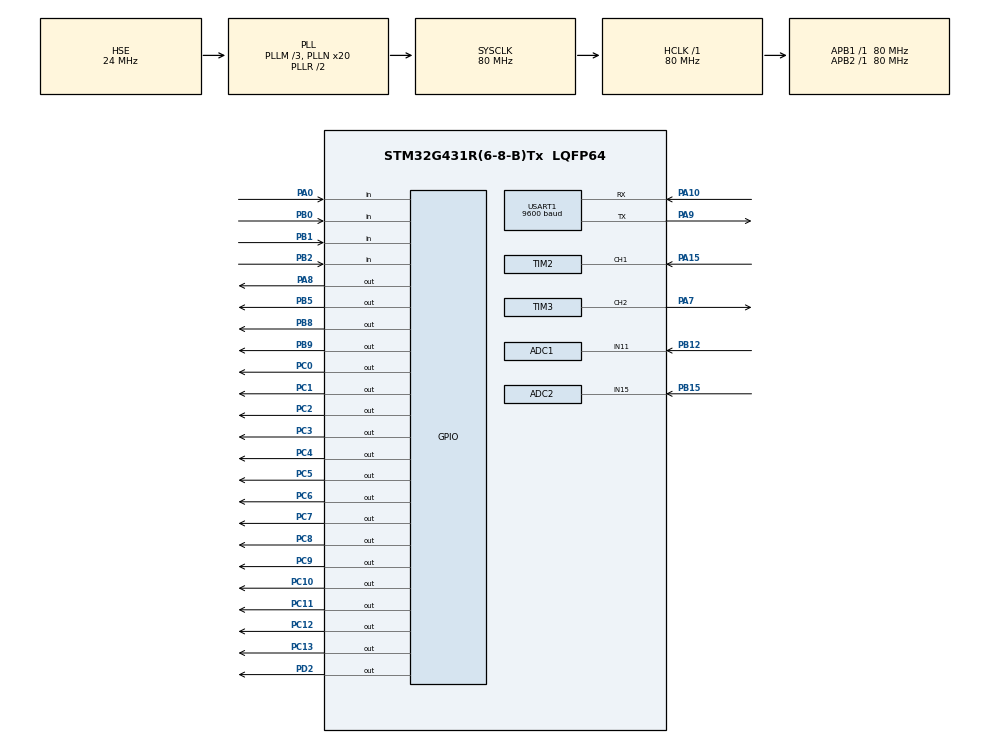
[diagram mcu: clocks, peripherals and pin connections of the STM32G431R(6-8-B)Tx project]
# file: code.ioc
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ADC1.Channel-3\#ChannelRegularConversion=ADC_CHANNEL_11
ADC1.NbrOfConversionFlag=1
ADC1.OffsetNumber-3\#ChannelRegularConversion=ADC_OFFSET_NONE
ADC1.Rank-3\#ChannelRegularConversion=1
ADC1.SamplingTime-3\#ChannelRegularConversion=ADC_SAMPLETIME_2CYCLES_5
ADC1.master=1
ADC2.Channel-0\#ChannelRegularConversion=ADC_CHANNEL_15
ADC2.NbrOfConversionFlag=1
ADC2.OffsetNumber-0\#ChannelRegularConversion=ADC_OFFSET_NONE
ADC2.Rank-0\#ChannelRegularConversion=1
ADC2.SamplingTime-0\#ChannelRegularConversion=ADC_SAMPLETIME_2CYCLES_5
Dma.ADC1.0.Direction=DMA_PERIPH_TO_MEMORY
Dma.ADC1.0.EventEnable=DISABLE
Dma.ADC1.0.Instance=DMA1_Channel1
Dma.ADC1.0.MemDataAlignment=DMA_MDATAALIGN_HALFWORD
Dma.ADC1.0.MemInc=DMA_MINC_ENABLE
Dma.ADC1.0.Mode=DMA_NORMAL
Dma.ADC1.0.PeriphDataAlignment=DMA_PDATAALIGN_HALFWORD
Dma.ADC1.0.PeriphInc=DMA_PINC_DISABLE
Dma.ADC1.0.Polarity=HAL_DMAMUX_REQ_GEN_RISING
Dma.ADC1.0.Priority=DMA_PRIORITY_LOW
Dma.ADC1.0.RequestNumber=1
Dma.ADC1.0.SignalID=NONE
Dma.ADC1.0.SyncEnable=DISABLE
Dma.ADC1.0.SyncPolarity=HAL_DMAMUX_SYNC_NO_EVENT
Dma.ADC1.0.SyncRequestNumber=1
Dma.ADC1.0.SyncSignalID=NONE
Dma.Request0=ADC1
Mcu.Family=STM32G4
Mcu.Name=STM32G431R(6-8-B)Tx
Mcu.Package=LQFP64
NVIC.DMA1_Channel1_IRQn=true\:0\:0\:false\:false\:true\:false\:true\:true
NVIC.PriorityGroup=NVIC_PRIORITYGROUP_4
NVIC.TIM2_IRQn=true\:0\:0\:false\:false\:true\:true\:true\:true
NVIC.USART1_IRQn=true\:0\:0\:false\:false\:true\:true\:true\:true
PA0.GPIO_PuPd=GPIO_PULLUP
PA0.Signal=GPIO_Input
PA10.Mode=Asynchronous
PA10.Signal=USART1_RX
PA13.Mode=Serial_Wire
PA13.Signal=SYS_JTMS-SWDIO
PA14.Mode=Serial_Wire
PA14.Signal=SYS_JTCK-SWCLK
PA15.Signal=S_TIM2_CH1
PA7.Signal=S_TIM3_CH2
PA8.Signal=GPIO_Output
PA9.Mode=Asynchronous
PA9.Signal=USART1_TX
PB0.GPIO_PuPd=GPIO_PULLUP
PB0.Signal=GPIO_Input
PB1.GPIO_PuPd=GPIO_PULLUP
PB1.Signal=GPIO_Input
PB12.Mode=IN11-Single-Ended
PB12.Signal=ADC1_IN11
PB15.Mode=IN15-Single-Ended
PB15.Signal=ADC2_IN15
PB2.GPIO_PuPd=GPIO_PULLUP
PB2.Signal=GPIO_Input
PB5.Signal=GPIO_Output
PB8-BOOT0.Signal=GPIO_Output
PB9.Signal=GPIO_Output
PC0.Signal=GPIO_Output
PC1.Signal=GPIO_Output
PC10.PinState=GPIO_PIN_SET
PC10.Signal=GPIO_Output
PC11.PinState=GPIO_PIN_SET
PC11.Signal=GPIO_Output
PC12.PinState=GPIO_PIN_SET
PC12.Signal=GPIO_Output
PC13.PinState=GPIO_PIN_SET
PC13.Signal=GPIO_Output
PC14-OSC32_IN.Mode=LSE-External-Oscillator
PC14-OSC32_IN.Signal=RCC_OSC32_IN
PC15-OSC32_OUT.Mode=LSE-External-Oscillator
PC15-OSC32_OUT.Signal=RCC_OSC32_OUT
PC2.Signal=GPIO_Output
PC3.Signal=GPIO_Output
PC4.Signal=GPIO_Output
PC5.Signal=GPIO_Output
PC6.Signal=GPIO_Output
PC7.PinState=GPIO_PIN_SET
PC7.Signal=GPIO_Output
PC8.PinState=GPIO_PIN_SET
PC8.Signal=GPIO_Output
PC9.PinState=GPIO_PIN_SET
PC9.Signal=GPIO_Output
PD2.Signal=GPIO_Output
PF0-OSC_IN.Mode=HSE-External-Oscillator
PF0-OSC_IN.Signal=RCC_OSC_IN
PF1-OSC_OUT.Mode=HSE-External-Oscillator
PF1-OSC_OUT.Signal=RCC_OSC_OUT
ProjectManager.HeapSize=0x200
ProjectManager.StackSize=0x400
ProjectManager.TargetToolchain=MDK-ARM V5.32
RCC.ADC12CLockSelection=RCC_ADC12CLKSOURCE_PLL
RCC.ADC12Freq_Value=80000000
RCC.AHBFreq_Value=80000000
RCC.APB1Freq_Value=80000000
RCC.APB1TimFreq_Value=80000000
RCC.APB2Freq_Value=80000000
RCC.APB2TimFreq_Value=80000000
RCC.CortexFreq_Value=80000000
RCC.EXTERNAL_CLOCK_VALUE=12288000
RCC.HCLKFreq_Value=80000000
RCC.HSE_VALUE=24000000
RCC.HSI48_VALUE=48000000
RCC.HSI_VALUE=16000000
RCC.PLLM=RCC_PLLM_DIV3
RCC.PLLN=20
RCC.PLLSourceVirtual=RCC_PLLSOURCE_HSE
RCC.SYSCLKFreq_VALUE=80000000
RCC.SYSCLKSource=RCC_SYSCLKSOURCE_PLLCLK
RCC.USBFreq_Value=80000000
RCC.VCOOutputFreq_Value=160000000
SH.S_TIM2_CH1.0=TIM2_CH1,Input_Capture1_from_TI1
SH.S_TIM3_CH2.0=TIM3_CH2,PWM Generation2 CH2
TIM1.PeriodNoDither=999
TIM1.Prescaler=79
TIM2.Channel-Input_Capture1_from_TI1=TIM_CHANNEL_1
TIM2.ICPolarity_CH1=TIM_INPUTCHANNELPOLARITY_BOTHEDGE
TIM2.Prescaler=79
TIM3.Channel-PWM\ Generation2\ CH2=TIM_CHANNEL_2
TIM3.PeriodNoDither=999
TIM3.Prescaler=79
USART1.BaudRate=9600
USART1.Parity=PARITY_NONE
USART1.VirtualMode-Asynchronous=VM_ASYNC
VP_RTC_VS_RTC_Activate.Mode=RTC_Enabled
VP_SYS_VS_DBSignals.Mode=DisableDeadBatterySignals
VP_TIM1_VS_ClockSourceINT.Mode=Internal
VP_TIM2_VS_ClockSourceINT.Mode=Internal
VP_TIM3_VS_ClockSourceINT.Mode=Internal
board=custom

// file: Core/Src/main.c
/* USER CODE BEGIN Header */
/**
 ******************************************************************************
 * @file           : main.c
 * @brief          : Main program body
 ******************************************************************************
 * @attention
 *
 * Copyright (c) 2026 STMicroelectronics.
 * All rights reserved.
 *
 * This software is licensed under terms that can be found in the LICENSE file
 * in the root directory of this software component.
 * If no LICENSE file comes with this software, it is provided AS-IS.
 *
 ******************************************************************************
 */
/* USER CODE END Header */
#include "main.h"

/* USER CODE BEGIN Includes */
#include "stdio.h"
#include "string.h"
#include "lcd.h"
#include "led.h"
#include "key.h"
#include "ui.h"
#include "service.h"
/* USER CODE END Includes */

ADC_HandleTypeDef hadc1;
ADC_HandleTypeDef hadc2;
DMA_HandleTypeDef hdma_adc1;

RTC_HandleTypeDef hrtc;

TIM_HandleTypeDef htim1;
TIM_HandleTypeDef htim2;
TIM_HandleTypeDef htim3;

UART_HandleTypeDef huart1;

void SystemClock_Config(void);
static void MX_GPIO_Init(void);
static void MX_DMA_Init(void);
static void MX_ADC1_Init(void);
static void MX_RTC_Init(void);
static void MX_TIM1_Init(void);
static void MX_TIM2_Init(void);
static void MX_ADC2_Init(void);
static void MX_USART1_UART_Init(void);
static void MX_TIM3_Init(void);

int main(void)
{

  /* MCU Configuration--------------------------------------------------------*/

  /* Reset of all peripherals, Initializes the Flash interface and the Systick. */
  HAL_Init();

  /* Configure the system clock */
  SystemClock_Config();

  /* Initialize all configured peripherals */
  MX_GPIO_Init();
  MX_DMA_Init();
  MX_ADC1_Init();
  MX_RTC_Init();
  MX_TIM1_Init();
  MX_TIM2_Init();
  MX_ADC2_Init();
  MX_USART1_UART_Init();
  MX_TIM3_Init();
  /* USER CODE BEGIN 2 */
  HAL_TIM_IC_Start_IT(&htim2, TIM_CHANNEL_1);
  HAL_ADCEx_Calibration_Start(&hadc1, ADC_SINGLE_ENDED);
  HAL_ADCEx_Calibration_Start(&hadc2, ADC_SINGLE_ENDED);
  /* 启动 PWM 输出 */
  HAL_TIM_PWM_Start(&htim3, TIM_CHANNEL_2);
  /* LCD初始化 */
  LCD_Init();
  LCD_Clear(Black);
  LCD_SetBackColor(Black);
  LCD_SetTextColor(White);
  ui_init();
  /* USER CODE END 2 */

  /* Infinite loop */
  while (1)
  {

    /* USER CODE BEGIN 3 */
    //定时模块
    service_tick_run();
  }
  /* USER CODE END 3 */
}

void SystemClock_Config(void)
{
  RCC_OscInitTypeDef RCC_OscInitStruct = {0};
  RCC_ClkInitTypeDef RCC_ClkInitStruct = {0};

  /** Configure the main internal regulator output voltage
  */
  HAL_PWREx_ControlVoltageScaling(PWR_REGULATOR_VOLTAGE_SCALE1);

  /** Initializes the RCC Oscillators according to the specified parameters
  * in the RCC_OscInitTypeDef structure.
  */
  RCC_OscInitStruct.OscillatorType = RCC_OSCILLATORTYPE_LSI|RCC_OSCILLATORTYPE_HSE;
  RCC_OscInitStruct.HSEState = RCC_HSE_ON;
  RCC_OscInitStruct.LSIState = RCC_LSI_ON;
  RCC_OscInitStruct.PLL.PLLState = RCC_PLL_ON;
  RCC_OscInitStruct.PLL.PLLSource = RCC_PLLSOURCE_HSE;
  RCC_OscInitStruct.PLL.PLLM = RCC_PLLM_DIV3;
  RCC_OscInitStruct.PLL.PLLN = 20;
  RCC_OscInitStruct.PLL.PLLP = RCC_PLLP_DIV2;
  RCC_OscInitStruct.PLL.PLLQ = RCC_PLLQ_DIV2;
  RCC_OscInitStruct.PLL.PLLR = RCC_PLLR_DIV2;
  if (HAL_RCC_OscConfig(&RCC_OscInitStruct) != HAL_OK)
  {
    Error_Handler();
  }

  /** Initializes the CPU, AHB and APB buses clocks
  */
  RCC_ClkInitStruct.ClockType = RCC_CLOCKTYPE_HCLK|RCC_CLOCKTYPE_SYSCLK
                              |RCC_CLOCKTYPE_PCLK1|RCC_CLOCKTYPE_PCLK2;
  RCC_ClkInitStruct.SYSCLKSource = RCC_SYSCLKSOURCE_PLLCLK;
  RCC_ClkInitStruct.AHBCLKDivider = RCC_SYSCLK_DIV1;
  RCC_ClkInitStruct.APB1CLKDivider = RCC_HCLK_DIV1;
  RCC_ClkInitStruct.APB2CLKDivider = RCC_HCLK_DIV1;

  if (HAL_RCC_ClockConfig(&RCC_ClkInitStruct, FLASH_LATENCY_2) != HAL_OK)
  {
    Error_Handler();
  }
}

static void MX_ADC1_Init(void)
{

  ADC_MultiModeTypeDef multimode = {0};
  ADC_ChannelConfTypeDef sConfig = {0};

  /** Common config
  */
  hadc1.Instance = ADC1;
  hadc1.Init.ClockPrescaler = ADC_CLOCK_SYNC_PCLK_DIV2;
  hadc1.Init.Resolution = ADC_RESOLUTION_12B;
  hadc1.Init.DataAlign = ADC_DATAALIGN_RIGHT;
  hadc1.Init.GainCompensation = 0;
  hadc1.Init.ScanConvMode = ADC_SCAN_DISABLE;
  hadc1.Init.EOCSelection = ADC_EOC_SINGLE_CONV;
  hadc1.Init.LowPowerAutoWait = DISABLE;
  hadc1.Init.ContinuousConvMode = DISABLE;
  hadc1.Init.NbrOfConversion = 1;
  hadc1.Init.DiscontinuousConvMode = DISABLE;
  hadc1.Init.ExternalTrigConv = ADC_SOFTWARE_START;
  hadc1.Init.ExternalTrigConvEdge = ADC_EXTERNALTRIGCONVEDGE_NONE;
  hadc1.Init.DMAContinuousRequests = DISABLE;
  hadc1.Init.Overrun = ADC_OVR_DATA_PRESERVED;
  hadc1.Init.OversamplingMode = DISABLE;
  if (HAL_ADC_Init(&hadc1) != HAL_OK)
  {
    Error_Handler();
  }

  /** Configure the ADC multi-mode
  */
  multimode.Mode = ADC_MODE_INDEPENDENT;
  if (HAL_ADCEx_MultiModeConfigChannel(&hadc1, &multimode) != HAL_OK)
  {
    Error_Handler();
  }

  /** Configure Regular Channel
  */
  sConfig.Channel = ADC_CHANNEL_11;
  sConfig.Rank = ADC_REGULAR_RANK_1;
  sConfig.SamplingTime = ADC_SAMPLETIME_2CYCLES_5;
  sConfig.SingleDiff = ADC_SINGLE_ENDED;
  sConfig.OffsetNumber = ADC_OFFSET_NONE;
  sConfig.Offset = 0;
  if (HAL_ADC_ConfigChannel(&hadc1, &sConfig) != HAL_OK)
  {
    Error_Handler();
  }

}

static void MX_ADC2_Init(void)
{

  ADC_ChannelConfTypeDef sConfig = {0};

  /** Common config
  */
  hadc2.Instance = ADC2;
  hadc2.Init.ClockPrescaler = ADC_CLOCK_SYNC_PCLK_DIV2;
  hadc2.Init.Resolution = ADC_RESOLUTION_12B;
  hadc2.Init.DataAlign = ADC_DATAALIGN_RIGHT;
  hadc2.Init.GainCompensation = 0;
  hadc2.Init.ScanConvMode = ADC_SCAN_DISABLE;
  hadc2.Init.EOCSelection = ADC_EOC_SINGLE_CONV;
  hadc2.Init.LowPowerAutoWait = DISABLE;
  hadc2.Init.ContinuousConvMode = DISABLE;
  hadc2.Init.NbrOfConversion = 1;
  hadc2.Init.DiscontinuousConvMode = DISABLE;
  hadc2.Init.ExternalTrigConv = ADC_SOFTWARE_START;
  hadc2.Init.ExternalTrigConvEdge = ADC_EXTERNALTRIGCONVEDGE_NONE;
  hadc2.Init.DMAContinuousRequests = DISABLE;
  hadc2.Init.Overrun = ADC_OVR_DATA_PRESERVED;
  hadc2.Init.OversamplingMode = DISABLE;
  if (HAL_ADC_Init(&hadc2) != HAL_OK)
  {
    Error_Handler();
  }

  /** Configure Regular Channel
  */
  sConfig.Channel = ADC_CHANNEL_15;
  sConfig.Rank = ADC_REGULAR_RANK_1;
  sConfig.SamplingTime = ADC_SAMPLETIME_2CYCLES_5;
  sConfig.SingleDiff = ADC_SINGLE_ENDED;
  sConfig.OffsetNumber = ADC_OFFSET_NONE;
  sConfig.Offset = 0;
  if (HAL_ADC_ConfigChannel(&hadc2, &sConfig) != HAL_OK)
  {
    Error_Handler();
  }

}

static void MX_RTC_Init(void)
{

  /** Initialize RTC Only
  */
  hrtc.Instance = RTC;
  hrtc.Init.HourFormat = RTC_HOURFORMAT_24;
  hrtc.Init.AsynchPrediv = 127;
  hrtc.Init.SynchPrediv = 255;
  hrtc.Init.OutPut = RTC_OUTPUT_DISABLE;
  hrtc.Init.OutPutRemap = RTC_OUTPUT_REMAP_NONE;
  hrtc.Init.OutPutPolarity = RTC_OUTPUT_POLARITY_HIGH;
  hrtc.Init.OutPutType = RTC_OUTPUT_TYPE_OPENDRAIN;
  hrtc.Init.OutPutPullUp = RTC_OUTPUT_PULLUP_NONE;
  if (HAL_RTC_Init(&hrtc) != HAL_OK)
  {
    Error_Handler();
  }

}

static void MX_TIM1_Init(void)
{

  TIM_ClockConfigTypeDef sClockSourceConfig = {0};
  TIM_MasterConfigTypeDef sMasterConfig = {0};

  htim1.Instance = TIM1;
  htim1.Init.Prescaler = 79;
  htim1.Init.CounterMode = TIM_COUNTERMODE_UP;
  htim1.Init.Period = 999;
  htim1.Init.ClockDivision = TIM_CLOCKDIVISION_DIV1;
  htim1.Init.RepetitionCounter = 0;
  htim1.Init.AutoReloadPreload = TIM_AUTORELOAD_PRELOAD_DISABLE;
  if (HAL_TIM_Base_Init(&htim1) != HAL_OK)
  {
    Error_Handler();
  }
  sClockSourceConfig.ClockSource = TIM_CLOCKSOURCE_INTERNAL;
  if (HAL_TIM_ConfigClockSource(&htim1, &sClockSourceConfig) != HAL_OK)
  {
    Error_Handler();
  }
  sMasterConfig.MasterOutputTrigger = TIM_TRGO_RESET;
  sMasterConfig.MasterOutputTrigger2 = TIM_TRGO2_RESET;
  sMasterConfig.MasterSlaveMode = TIM_MASTERSLAVEMODE_DISABLE;
  if (HAL_TIMEx_MasterConfigSynchronization(&htim1, &sMasterConfig) != HAL_OK)
  {
    Error_Handler();
  }

}

static void MX_TIM2_Init(void)
{

  TIM_ClockConfigTypeDef sClockSourceConfig = {0};
  TIM_MasterConfigTypeDef sMasterConfig = {0};
  TIM_IC_InitTypeDef sConfigIC = {0};

  htim2.Instance = TIM2;
  htim2.Init.Prescaler = 79;
  htim2.Init.CounterMode = TIM_COUNTERMODE_UP;
  htim2.Init.Period = 4294967295;
  htim2.Init.ClockDivision = TIM_CLOCKDIVISION_DIV1;
  htim2.Init.AutoReloadPreload = TIM_AUTORELOAD_PRELOAD_DISABLE;
  if (HAL_TIM_Base_Init(&htim2) != HAL_OK)
  {
    Error_Handler();
  }
  sClockSourceConfig.ClockSource = TIM_CLOCKSOURCE_INTERNAL;
  if (HAL_TIM_ConfigClockSource(&htim2, &sClockSourceConfig) != HAL_OK)
  {
    Error_Handler();
  }
  if (HAL_TIM_IC_Init(&htim2) != HAL_OK)
  {
    Error_Handler();
  }
  sMasterConfig.MasterOutputTrigger = TIM_TRGO_RESET;
  sMasterConfig.MasterSlaveMode = TIM_MASTERSLAVEMODE_DISABLE;
  if (HAL_TIMEx_MasterConfigSynchronization(&htim2, &sMasterConfig) != HAL_OK)
  {
    Error_Handler();
  }
  sConfigIC.ICPolarity = TIM_INPUTCHANNELPOLARITY_BOTHEDGE;
  sConfigIC.ICSelection = TIM_ICSELECTION_DIRECTTI;
  sConfigIC.ICPrescaler = TIM_ICPSC_DIV1;
  sConfigIC.ICFilter = 0;
  if (HAL_TIM_IC_ConfigChannel(&htim2, &sConfigIC, TIM_CHANNEL_1) != HAL_OK)
  {
    Error_Handler();
  }

}

static void MX_TIM3_Init(void)
{

  TIM_ClockConfigTypeDef sClockSourceConfig = {0};
  TIM_MasterConfigTypeDef sMasterConfig = {0};
  TIM_OC_InitTypeDef sConfigOC = {0};

  htim3.Instance = TIM3;
  htim3.Init.Prescaler = 79;
  htim3.Init.CounterMode = TIM_COUNTERMODE_UP;
  htim3.Init.Period = 999;
  htim3.Init.ClockDivision = TIM_CLOCKDIVISION_DIV1;
  htim3.Init.AutoReloadPreload = TIM_AUTORELOAD_PRELOAD_DISABLE;
  if (HAL_TIM_Base_Init(&htim3) != HAL_OK)
  {
    Error_Handler();
  }
  sClockSourceConfig.ClockSource = TIM_CLOCKSOURCE_INTERNAL;
  if (HAL_TIM_ConfigClockSource(&htim3, &sClockSourceConfig) != HAL_OK)
  {
    Error_Handler();
  }
  if (HAL_TIM_PWM_Init(&htim3) != HAL_OK)
  {
    Error_Handler();
  }
  sMasterConfig.MasterOutputTrigger = TIM_TRGO_RESET;
  sMasterConfig.MasterSlaveMode = TIM_MASTERSLAVEMODE_DISABLE;
  if (HAL_TIMEx_MasterConfigSynchronization(&htim3, &sMasterConfig) != HAL_OK)
  {
    Error_Handler();
  }
  sConfigOC.OCMode = TIM_OCMODE_PWM1;
  sConfigOC.Pulse = 0;
  sConfigOC.OCPolarity = TIM_OCPOLARITY_HIGH;
  sConfigOC.OCFastMode = TIM_OCFAST_DISABLE;
  if (HAL_TIM_PWM_ConfigChannel(&htim3, &sConfigOC, TIM_CHANNEL_2) != HAL_OK)
  {
    Error_Handler();
  }
  HAL_TIM_MspPostInit(&htim3);

}

static void MX_USART1_UART_Init(void)
{

  huart1.Instance = USART1;
  huart1.Init.BaudRate = 9600;
  huart1.Init.WordLength = UART_WORDLENGTH_8B;
  huart1.Init.StopBits = UART_STOPBITS_1;
  huart1.Init.Parity = UART_PARITY_NONE;
  huart1.Init.Mode = UART_MODE_TX_RX;
  huart1.Init.HwFlowCtl = UART_HWCONTROL_NONE;
  huart1.Init.OverSampling = UART_OVERSAMPLING_16;
  huart1.Init.OneBitSampling = UART_ONE_BIT_SAMPLE_DISABLE;
  huart1.Init.ClockPrescaler = UART_PRESCALER_DIV1;
  huart1.AdvancedInit.AdvFeatureInit = UART_ADVFEATURE_NO_INIT;
  if (HAL_UART_Init(&huart1) != HAL_OK)
  {
    Error_Handler();
  }
  if (HAL_UARTEx_SetTxFifoThreshold(&huart1, UART_TXFIFO_THRESHOLD_1_8) != HAL_OK)
  {
    Error_Handler();
  }
  if (HAL_UARTEx_SetRxFifoThreshold(&huart1, UART_RXFIFO_THRESHOLD_1_8) != HAL_OK)
  {
    Error_Handler();
  }
  if (HAL_UARTEx_DisableFifoMode(&huart1) != HAL_OK)
  {
    Error_Handler();
  }

}

static void MX_DMA_Init(void)
{

  /* DMA controller clock enable */
  __HAL_RCC_DMAMUX1_CLK_ENABLE();
  __HAL_RCC_DMA1_CLK_ENABLE();

  /* DMA interrupt init */
  /* DMA1_Channel1_IRQn interrupt configuration */
  HAL_NVIC_SetPriority(DMA1_Channel1_IRQn, 0, 0);
  HAL_NVIC_EnableIRQ(DMA1_Channel1_IRQn);

}

static void MX_GPIO_Init(void)
{
  GPIO_InitTypeDef GPIO_InitStruct = {0};

  /* GPIO Ports Clock Enable */
  __HAL_RCC_GPIOC_CLK_ENABLE();
  __HAL_RCC_GPIOF_CLK_ENABLE();
  __HAL_RCC_GPIOA_CLK_ENABLE();
  __HAL_RCC_GPIOB_CLK_ENABLE();
  __HAL_RCC_GPIOD_CLK_ENABLE();

  /*Configure GPIO pin Output Level */
  HAL_GPIO_WritePin(GPIOC, GPIO_PIN_13|GPIO_PIN_7|GPIO_PIN_8|GPIO_PIN_9
                          |GPIO_PIN_10|GPIO_PIN_11|GPIO_PIN_12, GPIO_PIN_SET);

  /*Configure GPIO pin Output Level */
  HAL_GPIO_WritePin(GPIOC, GPIO_PIN_0|GPIO_PIN_1|GPIO_PIN_2|GPIO_PIN_3
                          |GPIO_PIN_4|GPIO_PIN_5|GPIO_PIN_6, GPIO_PIN_RESET);

  /*Configure GPIO pin Output Level */
  HAL_GPIO_WritePin(GPIOA, GPIO_PIN_8, GPIO_PIN_RESET);

  /*Configure GPIO pin Output Level */
  HAL_GPIO_WritePin(GPIOD, GPIO_PIN_2, GPIO_PIN_RESET);

  /*Configure GPIO pin Output Level */
  HAL_GPIO_WritePin(GPIOB, GPIO_PIN_5|GPIO_PIN_8|GPIO_PIN_9, GPIO_PIN_RESET);

  /*Configure GPIO pins : PC13 PC0 PC1 PC2
                           PC3 PC4 PC5 PC6
                           PC7 PC8 PC9 PC10
                           PC11 PC12 */
  GPIO_InitStruct.Pin = GPIO_PIN_13|GPIO_PIN_0|GPIO_PIN_1|GPIO_PIN_2
                          |GPIO_PIN_3|GPIO_PIN_4|GPIO_PIN_5|GPIO_PIN_6
                          |GPIO_PIN_7|GPIO_PIN_8|GPIO_PIN_9|GPIO_PIN_10
                          |GPIO_PIN_11|GPIO_PIN_12;
  GPIO_InitStruct.Mode = GPIO_MODE_OUTPUT_PP;
  GPIO_InitStruct.Pull = GPIO_NOPULL;
  GPIO_InitStruct.Speed = GPIO_SPEED_FREQ_LOW;
  HAL_GPIO_Init(GPIOC, &GPIO_InitStruct);

  /*Configure GPIO pin : PA0 */
  GPIO_InitStruct.Pin = GPIO_PIN_0;
  GPIO_InitStruct.Mode = GPIO_MODE_INPUT;
  GPIO_InitStruct.Pull = GPIO_PULLUP;
  HAL_GPIO_Init(GPIOA, &GPIO_InitStruct);

  /*Configure GPIO pins : PB0 PB1 PB2 */
  GPIO_InitStruct.Pin = GPIO_PIN_0|GPIO_PIN_1|GPIO_PIN_2;
  GPIO_InitStruct.Mode = GPIO_MODE_INPUT;
  GPIO_InitStruct.Pull = GPIO_PULLUP;
  HAL_GPIO_Init(GPIOB, &GPIO_InitStruct);

  /*Configure GPIO pin : PA8 */
  GPIO_InitStruct.Pin = GPIO_PIN_8;
  GPIO_InitStruct.Mode = GPIO_MODE_OUTPUT_PP;
  GPIO_InitStruct.Pull = GPIO_NOPULL;
  GPIO_InitStruct.Speed = GPIO_SPEED_FREQ_LOW;
  HAL_GPIO_Init(GPIOA, &GPIO_InitStruct);

  /*Configure GPIO pin : PD2 */
  GPIO_InitStruct.Pin = GPIO_PIN_2;
  GPIO_InitStruct.Mode = GPIO_MODE_OUTPUT_PP;
  GPIO_InitStruct.Pull = GPIO_NOPULL;
  GPIO_InitStruct.Speed = GPIO_SPEED_FREQ_LOW;
  HAL_GPIO_Init(GPIOD, &GPIO_InitStruct);

  /*Configure GPIO pins : PB5 PB8 PB9 */
  GPIO_InitStruct.Pin = GPIO_PIN_5|GPIO_PIN_8|GPIO_PIN_9;
  GPIO_InitStruct.Mode = GPIO_MODE_OUTPUT_PP;
  GPIO_InitStruct.Pull = GPIO_NOPULL;
  GPIO_InitStruct.Speed = GPIO_SPEED_FREQ_LOW;
  HAL_GPIO_Init(GPIOB, &GPIO_InitStruct);

}

void Error_Handler(void)
{
  __disable_irq();
  while (1)
  {
  }
}
